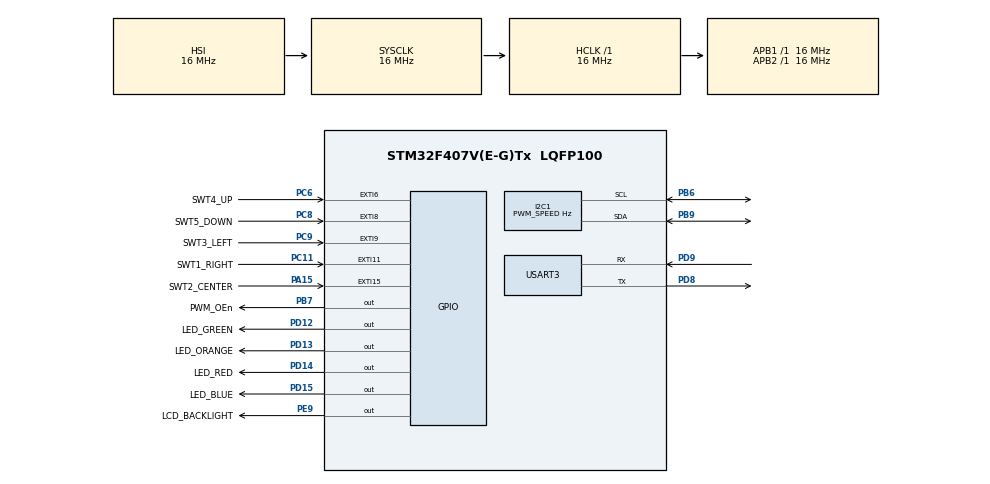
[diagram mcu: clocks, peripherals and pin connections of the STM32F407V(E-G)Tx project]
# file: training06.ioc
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Dma.Request0=USART3_TX
Dma.USART3_TX.0.Direction=DMA_MEMORY_TO_PERIPH
Dma.USART3_TX.0.FIFOMode=DMA_FIFOMODE_DISABLE
Dma.USART3_TX.0.Instance=DMA1_Stream3
Dma.USART3_TX.0.MemDataAlignment=DMA_MDATAALIGN_BYTE
Dma.USART3_TX.0.MemInc=DMA_MINC_ENABLE
Dma.USART3_TX.0.Mode=DMA_NORMAL
Dma.USART3_TX.0.PeriphDataAlignment=DMA_PDATAALIGN_BYTE
Dma.USART3_TX.0.PeriphInc=DMA_PINC_DISABLE
Dma.USART3_TX.0.Priority=DMA_PRIORITY_LOW
I2C1.ClockSpeed=I2C_PWM_SPEED
Mcu.Family=STM32F4
Mcu.Name=STM32F407V(E-G)Tx
Mcu.Package=LQFP100
Mcu.UserConstants=I2C_PWM_SPEED,50000
NVIC.DMA1_Stream3_IRQn=true\:0\:0\:false\:false\:true\:false\:true
NVIC.EXTI15_10_IRQn=true\:0\:0\:false\:false\:true\:true\:true
NVIC.EXTI9_5_IRQn=true\:0\:0\:false\:false\:true\:true\:true
NVIC.I2C1_EV_IRQn=true\:0\:0\:false\:false\:true\:true\:true
NVIC.PriorityGroup=NVIC_PRIORITYGROUP_4
NVIC.USART3_IRQn=true\:0\:0\:false\:false\:true\:true\:true
PA13.Mode=Trace_Asynchronous_SW
PA13.Signal=SYS_JTMS-SWDIO
PA14.Mode=Trace_Asynchronous_SW
PA14.Signal=SYS_JTCK-SWCLK
PA15.GPIO_Label=SWT2_CENTER
PA15.GPIO_ModeDefaultEXTI=GPIO_MODE_IT_FALLING
PA15.Signal=GPXTI15
PB3.Mode=Trace_Asynchronous_SW
PB3.Signal=SYS_JTDO-SWO
PB6.Mode=I2C
PB6.Signal=I2C1_SCL
PB7.GPIO_Label=PWM_OEn
PB7.GPIO_ModeDefaultOutputPP=GPIO_MODE_OUTPUT_OD
PB7.Signal=GPIO_Output
PB9.Mode=I2C
PB9.Signal=I2C1_SDA
PC11.GPIO_Label=SWT1_RIGHT
PC11.GPIO_ModeDefaultEXTI=GPIO_MODE_IT_FALLING
PC11.Signal=GPXTI11
PC6.GPIO_Label=SWT4_UP
PC6.GPIO_ModeDefaultEXTI=GPIO_MODE_IT_FALLING
PC6.Signal=GPXTI6
PC8.GPIO_Label=SWT5_DOWN
PC8.GPIO_ModeDefaultEXTI=GPIO_MODE_IT_FALLING
PC8.Signal=GPXTI8
PC9.GPIO_Label=SWT3_LEFT
PC9.GPIO_ModeDefaultEXTI=GPIO_MODE_IT_FALLING
PC9.Signal=GPXTI9
PD12.GPIO_Label=LED_GREEN
PD12.GPIO_PuPd=GPIO_PULLDOWN
PD12.Signal=GPIO_Output
PD13.GPIO_Label=LED_ORANGE
PD13.GPIO_PuPd=GPIO_PULLDOWN
PD13.Signal=GPIO_Output
PD14.GPIO_Label=LED_RED
PD14.GPIO_PuPd=GPIO_PULLDOWN
PD14.Signal=GPIO_Output
PD15.GPIO_Label=LED_BLUE
PD15.GPIO_PuPd=GPIO_PULLDOWN
PD15.Signal=GPIO_Output
PD8.Mode=Asynchronous
PD8.Signal=USART3_TX
PD9.Mode=Asynchronous
PD9.Signal=USART3_RX
PE9.GPIO_Label=LCD_BACKLIGHT
PE9.GPIO_ModeDefaultOutputPP=GPIO_MODE_OUTPUT_PP
PE9.Signal=GPIO_Output
PH0-OSC_IN.Mode=HSE-External-Oscillator
PH0-OSC_IN.Signal=RCC_OSC_IN
PH1-OSC_OUT.Mode=HSE-External-Oscillator
PH1-OSC_OUT.Signal=RCC_OSC_OUT
ProjectManager.HeapSize=0x200
ProjectManager.StackSize=0x400
ProjectManager.TargetToolchain=STM32CubeIDE
RCC.48MHZClocksFreq_Value=48000000
RCC.AHBFreq_Value=16000000
RCC.APB1Freq_Value=16000000
RCC.APB1TimFreq_Value=16000000
RCC.APB2Freq_Value=16000000
RCC.APB2TimFreq_Value=16000000
RCC.CortexFreq_Value=16000000
RCC.HCLKFreq_Value=16000000
RCC.HSE_VALUE=8000000
RCC.HSI_VALUE=16000000
RCC.LSE_VALUE=32768
RCC.PLLM=8
RCC.PLLSourceVirtual=RCC_PLLSOURCE_HSE
RCC.SYSCLKFreq_VALUE=16000000
RCC.VCOOutputFreq_Value=192000000
USART3.VirtualMode=VM_ASYNC
board=custom

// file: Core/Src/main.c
/* USER CODE BEGIN Header */
/**
  ******************************************************************************
  * @file           : main.c
  * @brief          : Main program body
  ******************************************************************************
  * @attention
  *
  * <h2><center>&copy; Copyright (c) 2021 STMicroelectronics.
  * All rights reserved.</center></h2>
  *
  * This software component is licensed by ST under BSD 3-Clause license,
  * the "License"; You may not use this file except in compliance with the
  * License. You may obtain a copy of the License at:
  *                        opensource.org/licenses/BSD-3-Clause
  *
  ******************************************************************************
  */
/* USER CODE END Header */
#include "main.h"

/* USER CODE BEGIN Includes */
#include "pca9685.h"
#include <stdio.h>
#include <ctype.h>
#include <string.h>
/* USER CODE END Includes */

I2C_HandleTypeDef hi2c1;

UART_HandleTypeDef huart3;
DMA_HandleTypeDef hdma_usart3_tx;

/* USER CODE BEGIN PV */
#define MAX_BRIGHTNESS 0xfff

LED_HandleDef hled1;
uint8_t ledDemoActive = 0;

volatile uint8_t uartTXbusy = 0;

#define UART_TX_SIZE 128
char uartTXbuf[UART_TX_SIZE] = {0};

#define UART_RX_SIZE 128
char uartRXbuf[UART_RX_SIZE] = {0};
char *const ptrUartRXbufEnd = uartRXbuf+UART_RX_SIZE;
char *ptrUartRXbuf = uartRXbuf;
/* USER CODE END PV */

void SystemClock_Config(void);
static void MX_GPIO_Init(void);
static void MX_DMA_Init(void);
static void MX_USART3_UART_Init(void);
static void MX_I2C1_Init(void);
/* USER CODE BEGIN PFP */
static void LED_Init(void);
static void getCommand(uint32_t timeout);
static void parseCommand(char *cmdBuf);
static void ledDemo(LED_HandleDef *hled);
/* USER CODE END PFP */

/* USER CODE BEGIN 0 */
/**
 * Standard function for stdio output
 * @param file stream id
 * @param ptr pointer to buffer of symbols to output
 * @param len length of ptr buffer
 * @retval count of successfully transmitted bytes
 */
int _write(int file, char* ptr, int len) {
	while (uartTXbusy);
	if (len > UART_TX_SIZE)
		len = UART_TX_SIZE;
	strncpy(uartTXbuf, ptr, len);
	HAL_UART_Transmit_DMA(&huart3, (uint8_t*)uartTXbuf, len);
	uartTXbusy = 1;
	return len;
}

/**
 * Simple output string to UART
 * @note If string is longer than internal output buffer, then output is trimmed
 * @param ptr pointer to 0 terminated string
 */
void print(char* ptr) {
	while (uartTXbusy);
	uint8_t len = strlen(ptr);
	if (len > UART_TX_SIZE)
		len = UART_TX_SIZE;
	strncpy(uartTXbuf, ptr, len);
	HAL_UART_Transmit_DMA(&huart3, (uint8_t*)uartTXbuf, len);
	uartTXbusy = 1;
}

/**
 * Get command from UART and try to parse it
 * @param timeout waiting command timeout in ms
 */
static void getCommand(uint32_t timeout) {
	char rData;
	HAL_StatusTypeDef receiveStatus = HAL_UART_Receive(&huart3, (uint8_t*)&rData, 1, timeout);
	if (receiveStatus == HAL_OK) {
		if (isalnum(rData) || rData == ' ') {
			*ptrUartRXbuf++ = rData;
			HAL_UART_Transmit(&huart3, (uint8_t*)&rData, 1, 1);
			if (ptrUartRXbuf >= ptrUartRXbufEnd) {
				ptrUartRXbuf = uartRXbuf;
				print("\r\nCommand too long!\r\n");
			}
		}
		else if (rData == '\r') {
			char newLine[] = "\r\n";
			HAL_UART_Transmit(&huart3, (uint8_t*)newLine, 2, 1);
			*ptrUartRXbuf = '\0';
			parseCommand(uartRXbuf);
			ptrUartRXbuf = uartRXbuf;
		}
	}
}

/**
 * Parse received command and activate corresponding LED
 */
static void parseCommand(char *cmdBuf) {
	LED_Pin led = LED_PIN_ALL;
	int brightness = 0;
	if (cmdBuf[0] == '\0') {
		ledDemoActive = ! ledDemoActive;
		if (ledDemoActive) {
			print("Demo activated\r\n");
		} else {
			print("Demo deactivated\r\n");
			LED_PWM_Set(&hled1, 0, 0, 0);
		}
		return;
	} else {
		ledDemoActive = 0;
	}
	int scaned = sscanf(cmdBuf, "l%d b%d", (int*)&led, &brightness);
	if (scaned != 2) {
		print("Unrecognized command!\r\n");
		return;
	}
	if ((led < LED_PIN_ALL) || (led >= LED_PIN_LAST)) {
		print("Incorrect LED number!\r\n");
		return;
	}
	if (brightness < 0)
		brightness = 0;
	else if (brightness > 100)
		brightness = 100;
	LED_PWM_Set(&hled1, led, (brightness*MAX_BRIGHTNESS/100), 0);
}

/**
 * Simple LED pulsation
 */
static void ledDemo(LED_HandleDef *hled) {
	static int8_t step = 0;
	static int8_t direction = 1;
	static uint8_t delay = 0;
	if (++delay < 10)
		return;
	delay = 0;
	LED_PWM_Set(hled, 0, step*MAX_BRIGHTNESS/100, 0);
	step += direction;
	if (step >= 100)
		direction = -1;
	if (step <= 0)
		direction = 1;
	return;
}
/**
  * @brief  Tx Transfer completed callbacks.
  * @param  huart  Pointer to a UART_HandleTypeDef structure that contains
  *                the configuration information for the specified UART module.
  * @retval None
  */
void HAL_UART_TxCpltCallback(UART_HandleTypeDef *huart)
{
  if (huart == &huart3) {
	  uartTXbusy = 0;
  }
}
/* USER CODE END 0 */

int main(void)
{

  /* MCU Configuration--------------------------------------------------------*/

  /* Reset of all peripherals, Initializes the Flash interface and the Systick. */
  HAL_Init();

  /* Configure the system clock */
  SystemClock_Config();

  /* Initialize all configured peripherals */
  MX_GPIO_Init();
  MX_DMA_Init();
  MX_USART3_UART_Init();
  MX_I2C1_Init();
  /* USER CODE BEGIN 2 */
  HAL_Delay(10);
  LED_Init();
  print("Command format 'l<led> b<brightness>'\r\nled 0-all, 1..16\r\nbrightness 0..100\r\n");
  /* USER CODE END 2 */

  /* Infinite loop */
  /* USER CODE BEGIN WHILE */
  while (1)
  {
	  getCommand(1);
	  if (ledDemoActive)
		  ledDemo(&hled1);
    /* USER CODE END WHILE */

  }
}

void SystemClock_Config(void)
{
  RCC_OscInitTypeDef RCC_OscInitStruct = {0};
  RCC_ClkInitTypeDef RCC_ClkInitStruct = {0};

  /** Configure the main internal regulator output voltage
  */
  __HAL_RCC_PWR_CLK_ENABLE();
  __HAL_PWR_VOLTAGESCALING_CONFIG(PWR_REGULATOR_VOLTAGE_SCALE1);
  /** Initializes the RCC Oscillators according to the specified parameters
  * in the RCC_OscInitTypeDef structure.
  */
  RCC_OscInitStruct.OscillatorType = RCC_OSCILLATORTYPE_HSI;
  RCC_OscInitStruct.HSIState = RCC_HSI_ON;
  RCC_OscInitStruct.HSICalibrationValue = RCC_HSICALIBRATION_DEFAULT;
  RCC_OscInitStruct.PLL.PLLState = RCC_PLL_NONE;
  if (HAL_RCC_OscConfig(&RCC_OscInitStruct) != HAL_OK)
  {
    Error_Handler();
  }
  /** Initializes the CPU, AHB and APB buses clocks
  */
  RCC_ClkInitStruct.ClockType = RCC_CLOCKTYPE_HCLK|RCC_CLOCKTYPE_SYSCLK
                              |RCC_CLOCKTYPE_PCLK1|RCC_CLOCKTYPE_PCLK2;
  RCC_ClkInitStruct.SYSCLKSource = RCC_SYSCLKSOURCE_HSI;
  RCC_ClkInitStruct.AHBCLKDivider = RCC_SYSCLK_DIV1;
  RCC_ClkInitStruct.APB1CLKDivider = RCC_HCLK_DIV1;
  RCC_ClkInitStruct.APB2CLKDivider = RCC_HCLK_DIV1;

  if (HAL_RCC_ClockConfig(&RCC_ClkInitStruct, FLASH_LATENCY_0) != HAL_OK)
  {
    Error_Handler();
  }
}

static void MX_I2C1_Init(void)
{

  hi2c1.Instance = I2C1;
  hi2c1.Init.ClockSpeed = I2C_PWM_SPEED;
  hi2c1.Init.DutyCycle = I2C_DUTYCYCLE_2;
  hi2c1.Init.OwnAddress1 = 0;
  hi2c1.Init.AddressingMode = I2C_ADDRESSINGMODE_7BIT;
  hi2c1.Init.DualAddressMode = I2C_DUALADDRESS_DISABLE;
  hi2c1.Init.OwnAddress2 = 0;
  hi2c1.Init.GeneralCallMode = I2C_GENERALCALL_DISABLE;
  hi2c1.Init.NoStretchMode = I2C_NOSTRETCH_DISABLE;
  if (HAL_I2C_Init(&hi2c1) != HAL_OK)
  {
    Error_Handler();
  }

}

static void MX_USART3_UART_Init(void)
{

  huart3.Instance = USART3;
  huart3.Init.BaudRate = 115200;
  huart3.Init.WordLength = UART_WORDLENGTH_8B;
  huart3.Init.StopBits = UART_STOPBITS_1;
  huart3.Init.Parity = UART_PARITY_NONE;
  huart3.Init.Mode = UART_MODE_TX_RX;
  huart3.Init.HwFlowCtl = UART_HWCONTROL_NONE;
  huart3.Init.OverSampling = UART_OVERSAMPLING_16;
  if (HAL_UART_Init(&huart3) != HAL_OK)
  {
    Error_Handler();
  }

}

static void MX_DMA_Init(void)
{

  /* DMA controller clock enable */
  __HAL_RCC_DMA1_CLK_ENABLE();

  /* DMA interrupt init */
  /* DMA1_Stream3_IRQn interrupt configuration */
  HAL_NVIC_SetPriority(DMA1_Stream3_IRQn, 0, 0);
  HAL_NVIC_EnableIRQ(DMA1_Stream3_IRQn);

}

static void MX_GPIO_Init(void)
{
  GPIO_InitTypeDef GPIO_InitStruct = {0};

  /* GPIO Ports Clock Enable */
  __HAL_RCC_GPIOH_CLK_ENABLE();
  __HAL_RCC_GPIOE_CLK_ENABLE();
  __HAL_RCC_GPIOD_CLK_ENABLE();
  __HAL_RCC_GPIOC_CLK_ENABLE();
  __HAL_RCC_GPIOA_CLK_ENABLE();
  __HAL_RCC_GPIOB_CLK_ENABLE();

  /*Configure GPIO pin Output Level */
  HAL_GPIO_WritePin(LCD_BACKLIGHT_GPIO_Port, LCD_BACKLIGHT_Pin, GPIO_PIN_RESET);

  /*Configure GPIO pin Output Level */
  HAL_GPIO_WritePin(GPIOD, LED_GREEN_Pin|LED_ORANGE_Pin|LED_RED_Pin|LED_BLUE_Pin, GPIO_PIN_RESET);

  /*Configure GPIO pin Output Level */
  HAL_GPIO_WritePin(PWM_OEn_GPIO_Port, PWM_OEn_Pin, GPIO_PIN_RESET);

  /*Configure GPIO pin : LCD_BACKLIGHT_Pin */
  GPIO_InitStruct.Pin = LCD_BACKLIGHT_Pin;
  GPIO_InitStruct.Mode = GPIO_MODE_OUTPUT_PP;
  GPIO_InitStruct.Pull = GPIO_NOPULL;
  GPIO_InitStruct.Speed = GPIO_SPEED_FREQ_LOW;
  HAL_GPIO_Init(LCD_BACKLIGHT_GPIO_Port, &GPIO_InitStruct);

  /*Configure GPIO pins : LED_GREEN_Pin LED_ORANGE_Pin LED_RED_Pin LED_BLUE_Pin */
  GPIO_InitStruct.Pin = LED_GREEN_Pin|LED_ORANGE_Pin|LED_RED_Pin|LED_BLUE_Pin;
  GPIO_InitStruct.Mode = GPIO_MODE_OUTPUT_PP;
  GPIO_InitStruct.Pull = GPIO_PULLDOWN;
  GPIO_InitStruct.Speed = GPIO_SPEED_FREQ_LOW;
  HAL_GPIO_Init(GPIOD, &GPIO_InitStruct);

  /*Configure GPIO pins : SWT4_UP_Pin SWT5_DOWN_Pin SWT3_LEFT_Pin SWT1_RIGHT_Pin */
  GPIO_InitStruct.Pin = SWT4_UP_Pin|SWT5_DOWN_Pin|SWT3_LEFT_Pin|SWT1_RIGHT_Pin;
  GPIO_InitStruct.Mode = GPIO_MODE_IT_FALLING;
  GPIO_InitStruct.Pull = GPIO_NOPULL;
  HAL_GPIO_Init(GPIOC, &GPIO_InitStruct);

  /*Configure GPIO pin : SWT2_CENTER_Pin */
  GPIO_InitStruct.Pin = SWT2_CENTER_Pin;
  GPIO_InitStruct.Mode = GPIO_MODE_IT_FALLING;
  GPIO_InitStruct.Pull = GPIO_NOPULL;
  HAL_GPIO_Init(SWT2_CENTER_GPIO_Port, &GPIO_InitStruct);

  /*Configure GPIO pin : PWM_OEn_Pin */
  GPIO_InitStruct.Pin = PWM_OEn_Pin;
  GPIO_InitStruct.Mode = GPIO_MODE_OUTPUT_OD;
  GPIO_InitStruct.Pull = GPIO_NOPULL;
  GPIO_InitStruct.Speed = GPIO_SPEED_FREQ_LOW;
  HAL_GPIO_Init(PWM_OEn_GPIO_Port, &GPIO_InitStruct);

  /* EXTI interrupt init*/
  HAL_NVIC_SetPriority(EXTI9_5_IRQn, 0, 0);
  HAL_NVIC_EnableIRQ(EXTI9_5_IRQn);

  HAL_NVIC_SetPriority(EXTI15_10_IRQn, 0, 0);
  HAL_NVIC_EnableIRQ(EXTI15_10_IRQn);

}

/* USER CODE BEGIN 4 */
/**
 * Initialise PWM on start
 */
static void LED_Init(void) {
	hled1.address = 0x40;
	hled1.init.invert = LED_TRUE;
	hled1.init.outPushPull = LED_FALSE;
	hled1.init.offState = LED_OFF_OUT_Z;
	hled1.hi2c = &hi2c1;
	hled1.oePort = PWM_OEn_GPIO_Port;
	hled1.oePin = PWM_OEn_Pin;
	if (LED_Config(&hled1))
		Error_Handler();
}
/* USER CODE END 4 */

void Error_Handler(void)
{
  __disable_irq();
  while (1)
  {
  }
}

/************************ (C) COPYRIGHT STMicroelectronics *****END OF FILE****/
